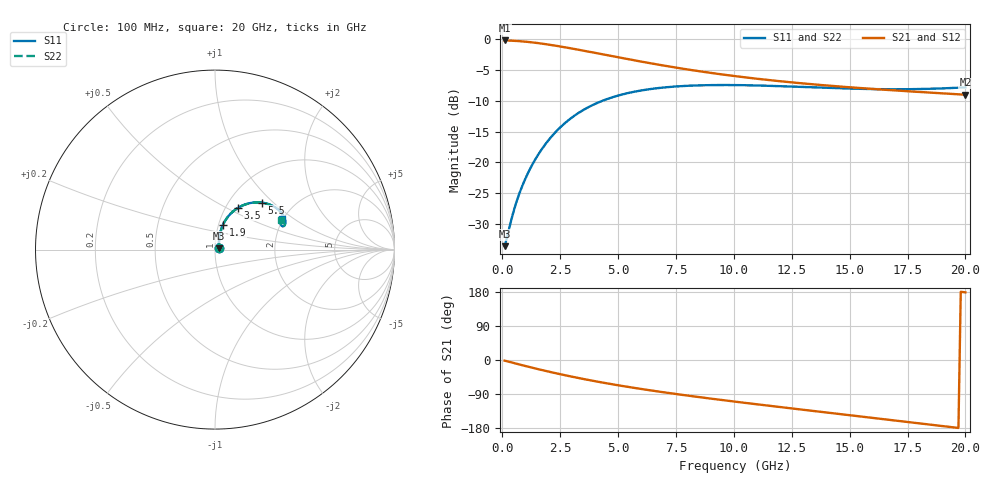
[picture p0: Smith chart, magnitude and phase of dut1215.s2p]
! Touchstone file exported from HFSS 2024.1.0
!  File:  C:/UserFiles/LocalFiles/RDL_TSV_Batchsim/temp_RDL_TSV_1215_1780260359.aedt
!  Generated:  05:02:24 AM Jun  1, 2026
!  Design:  RDL_TSV
!  Project:  temp_RDL_TSV_1215_1780260359
!  Setup:  Setup1
!  Solution:  Sweep
! Variables:
!  dtsv = 7.01um
!  hbump = 3um
!  htsv = 80.38um
!  ldown = 114.21um
!  lrdl = 524.19um
!  p = 40
!  p1 = 57.26um
!  rhole = 10um
!  subl = 2439.39um
!  t = 450um
!  tdown = 4.04um
!  trdl = 3.77um
!  viad = 10um
!  wdown = 27.84um
!  wrdl = 11.2um
!  xbump = 18um
# GHz S MA R 50.000000
! Terminal data exported
! Port[1] = TM1_1_T1
! Port[2] = TM1_4_T1
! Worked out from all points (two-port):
!   200 points, 100 MHz to 20 GHz, reference 50 ohm
!   highest |S21| = -0.17 dB at 100 MHz (marker M1); lowest = -9.0 dB at 20 GHz (marker M2)
!   |S21| within 3 dB of the highest: start of sweep to 5.372 GHz
!   lowest |S11| = -33.6 dB at 100 MHz (marker M3), VSWR 1.04, Z = 52 + j0.74 ohm
!   |S11| at or under -10 dB: start of sweep to 4.312 GHz
!   |S22| runs from -33.6 to -7.4 dB; largest |S21 - S12| = 9.5e-15
!   S11 on the Smith chart (normalised r, x): 100 MHz: 1.04, +0.01; 1.9 GHz: 1.05, +0.29; 3.5 GHz: 1.14, +0.57; 5.5 GHz: 1.40, +0.85; 20 GHz: 1.97, +0.79
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0.1  0.02087 19.9  0.9802 -1.6  0.9802 -1.6  0.02087 19.9
! Gamma 0 0 0 0
! Port Impedance 50 0 50 0
0.5  0.04077 58.3  0.9739 -8.1  0.9739 -8.1  0.04077 58.3
0.7  0.05342 65.0  0.9686 -11.2  0.9686 -11.2  0.05342 64.9
0.9  0.06696 68.9  0.962 -14.4  0.962 -14.4  0.06696 68.9
1.1  0.08127 71.2  0.9541 -17.4  0.9541 -17.4  0.08126 71.2
1.4  0.104 72.8  0.9403 -22.0  0.9403 -22.0  0.1039 72.7
1.9  0.1439 72.3  0.913 -29.2  0.913 -29.2  0.1438 72.2
2.2  0.1683 70.9  0.8949 -33.4  0.8949 -33.4  0.1682 70.8
2.6  0.2005 68.3  0.8695 -38.8  0.8695 -38.8  0.2003 68.2
3  0.2313 65.2  0.8433 -43.9  0.8433 -43.9  0.231 65.1
3.5  0.2669 61.0  0.8102 -50.1  0.8102 -50.1  0.2666 61.0
4.4  0.3209 53.6  0.752 -60.3  0.752 -60.3  0.3204 53.5
5.5  0.3688 45.3  0.6867 -71.7  0.6867 -71.7  0.3681 45.2
6.8  0.4034 37.2  0.6204 -83.7  0.6204 -83.7  0.4025 37.1
8.3  0.4219 29.9  0.5585 -96.3  0.5585 -96.3  0.421 29.8
10.1  0.4252 23.9  0.5015 -110.3  0.5015 -110.3  0.4241 23.8
11.7  0.4185 20.6  0.4632 -122.0  0.4632 -122.0  0.4173 20.5
13.4  0.4076 19.0  0.4317 -134.2  0.4317 -134.2  0.4064 18.9
15  0.3983 19.0  0.4081 -145.6  0.4081 -145.6  0.3971 19.0
16.7  0.3934 20.3  0.3876 -157.7  0.3876 -157.7  0.3921 20.3
18.3  0.396 22.3  0.371 -169.2  0.371 -169.2  0.3948 22.3
20  0.4075 24.3  0.3551 178.5  0.3551 178.5  0.4064 24.3
